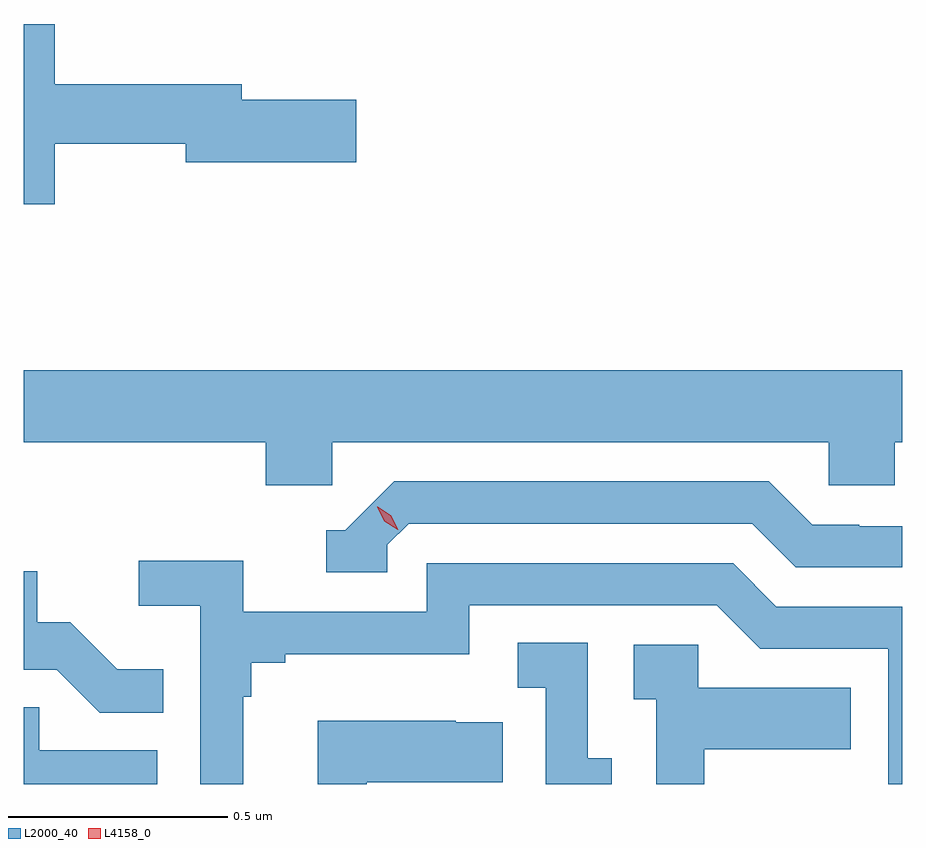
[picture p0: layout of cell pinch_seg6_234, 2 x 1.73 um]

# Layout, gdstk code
import gdstk
lib = gdstk.Library(unit=1e-6, precision=1e-09)
def P(c, l, *ps):  # polygons
    for p in ps: c.add(gdstk.Polygon(p, *l))
L2000_40 = (2000, 40)
L4158_0 = (4158, 0)

pinch_seg6_234 = lib.new_cell('pinch_seg6_234')
P(pinch_seg6_234, L2000_40, [(1079.464,922.708),(1079.762,922.708),(1079.762,922.666),(1080.151,922.666),(1080.151,922.808),(1079.89,922.808),(1079.89,922.844),(1079.464,922.844),(1079.464,922.981),(1079.394,922.981),(1079.394,922.571),(1079.464,922.571)],
  [(1080.096,922.028),(1081.227,922.028),(1081.227,921.93),(1081.377,921.93),(1081.377,922.028),(1081.394,922.028),(1081.394,922.192),(1079.394,922.192),(1079.394,922.028),(1079.945,922.028),(1079.945,921.93),(1080.096,921.93)],
  [(1080.222,921.795),(1080.27,921.843),(1081.053,921.843),(1081.152,921.744),(1081.394,921.744),(1081.394,921.837),(1081.296,921.837),(1081.296,921.84),(1081.189,921.84),(1081.09,921.939),(1080.237,921.939),(1080.126,921.828),(1080.083,921.828),(1080.083,921.732),(1080.222,921.732)],
  [(1079.893,921.449),(1079.912,921.449),(1079.912,921.526),(1079.989,921.526),(1079.989,921.545),(1080.408,921.545),(1080.408,921.657),(1080.972,921.657),(1081.071,921.558),(1081.362,921.558),(1081.362,921.25),(1081.394,921.25),(1081.394,921.654),(1081.108,921.654),(1081.009,921.753),(1080.312,921.753),(1080.312,921.642),(1079.894,921.642),(1079.894,921.758),(1079.655,921.758),(1079.655,921.656),(1079.796,921.656),(1079.796,921.25),(1079.893,921.25)],
  [(1079.711,921.511),(1079.607,921.511),(1079.5,921.618),(1079.424,921.618),(1079.424,921.735),(1079.394,921.735),(1079.394,921.51),(1079.469,921.51),(1079.567,921.412),(1079.711,921.412)],
  [(1080.733,921.309),(1080.678,921.309),(1080.678,921.572),(1080.519,921.572),(1080.519,921.469),(1080.582,921.469),(1080.582,921.25),(1080.733,921.25)],
  [(1080.943,921.329),(1081.277,921.329),(1081.277,921.469),(1080.93,921.469),(1080.93,921.567),(1080.783,921.567),(1080.783,921.443),(1080.834,921.443),(1080.834,921.25),(1080.943,921.25)],
  [(1079.698,921.327),(1079.429,921.327),(1079.429,921.425),(1079.394,921.425),(1079.394,921.25),(1079.698,921.25)],
  [(1080.175,921.254),(1080.485,921.254),(1080.485,921.391),(1080.377,921.391),(1080.377,921.394),(1080.063,921.394),(1080.063,921.25),(1080.175,921.25)])
P(pinch_seg6_234, L4158_0, [(1080.245,921.829),(1080.215,921.849),(1080.199,921.881),(1080.199,921.882),(1080.2,921.882),(1080.23,921.862),(1080.246,921.829),(1080.246,921.829)])

lib.write_gds('pinch_seg6_234.gds')
